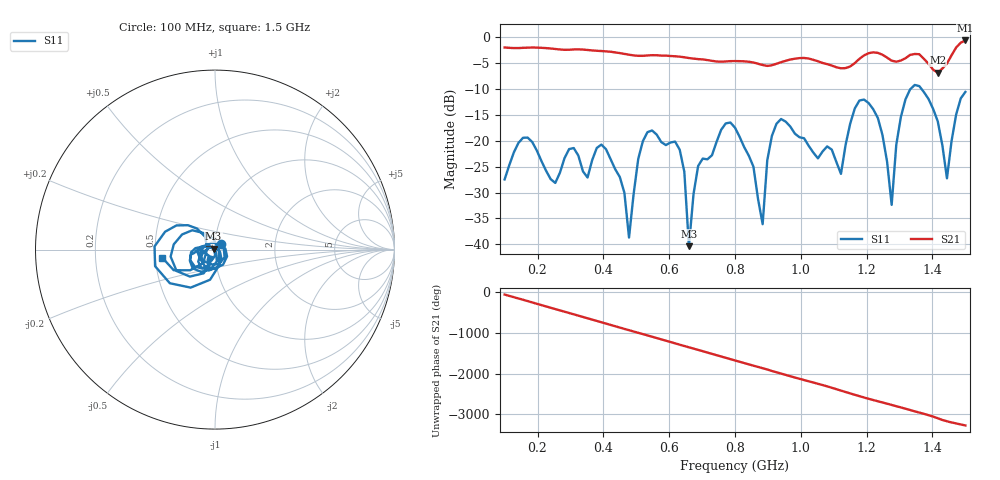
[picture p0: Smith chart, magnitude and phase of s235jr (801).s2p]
! NanoVNA-App
! Date: 2025-09-25 15:10:24
! Start: 100MHz Stop: 1,5GHz Points: 101
! S-Parameter data: F S11 S21 S12 S22
# Hz S RI R 50
!  Frequency  S11_Real  S11_Imag  S21_Real  S21_Imag  S12_Real  S12_Imag  S22_Real  S22_Imag
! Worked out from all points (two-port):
!   101 points, 100 MHz to 1.5 GHz, reference 50 ohm
!   highest |S21| = -0.61 dB at 1.5 GHz (marker M1); lowest = -6.9 dB at 1.416 GHz (marker M2)
!   |S21| within 3 dB of the highest: start of sweep to 602.6 MHz; 1.19 GHz to 1.254 GHz (64.43 MHz wide, 5.27 % of centre) (the widest 2 of 4)
!   lowest |S11| = -40.4 dB at 660 MHz (marker M3), VSWR 1.02, Z = 49.2 + j0.546 ohm
!   |S11| at or under -10 dB: start of sweep to 1.333 GHz; 1.367 GHz to end of sweep
!   S12 and S22 are empty: the file has one direction only
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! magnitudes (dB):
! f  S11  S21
! 100 MHz  -27.5  -2.0
! 156 MHz  -19.4  -2.0
! 338 MHz  -25.9  -2.4
! 408 MHz  -21.6  -2.7
! 478 MHz  -38.7  -3.4
! 520 MHz  -20.1  -3.6
! 576 MHz  -20.2  -3.5
! 632 MHz  -21.7  -3.7
! 660 MHz  -40.4  -4.0
! 688 MHz  -24.9  -4.2
! 800 MHz  -17.5  -4.6
! 884 MHz  -36.1  -5.4
! 926 MHz  -16.7  -5.1
! 1.038 GHz  -22.3  -4.4
! 1.122 GHz  -26.4  -6.0
! 1.192 GHz  -12.0  -3.5
! 1.248 GHz  -18.9  -3.4
! 1.276 GHz  -32.4  -4.5
! 1.332 GHz  -10.1  -3.4
! 1.416 GHz  -16.2  -6.9
! 1.444 GHz  -27.3  -5.1
! 1.5 GHz  -10.6  -0.6
